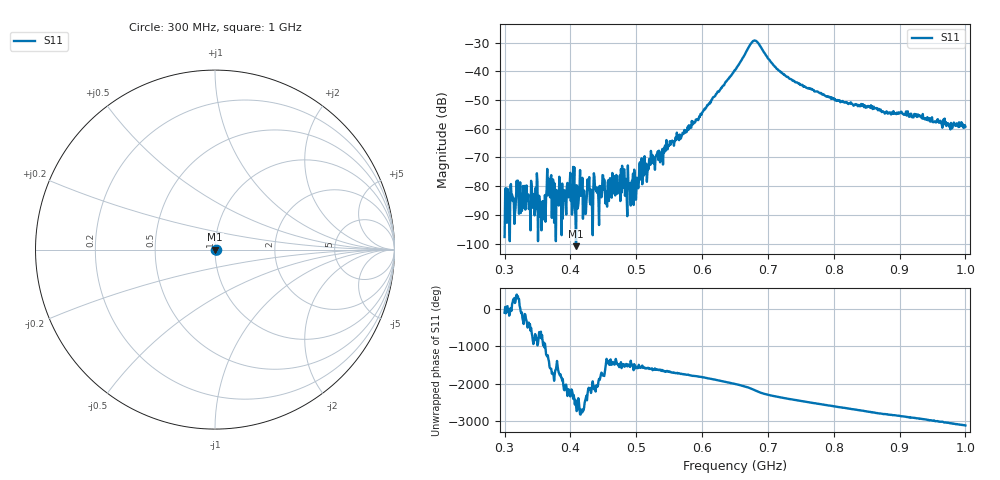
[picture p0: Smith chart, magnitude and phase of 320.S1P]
! C:\Users\rflab\Downloads\q2\320.S1P
! Touchstone 1.1 file saved by VNA.EXE V1.65 (www.ke5fx.com/gpib/readme.htm)
! 11/20/2024 11:16:48 AM
!  Source: HEWLETT PACKARD,8753D,0,6.14
!  Min freq: 3.000000E+008 Hz
!  Max freq: 1.000000E+009 Hz
!  Points: 801
!  Params: S21
# GHZ S MA R 50
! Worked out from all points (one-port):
!   801 points, 300 MHz to 1 GHz, reference 50 ohm
!   lowest |S11| = -100.9 dB at 408.5 MHz (marker M1), VSWR 1.00, Z = 50 - j0.000769 ohm
!   |S11| at or under -10 dB: start of sweep to end of sweep
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0.3  1.3e-05 -107.6
0.360375  2.6e-05 47.5
0.367375  9.1e-05 34.5
0.3875  0.000111 -123.2
0.39975  0.000171 174.5
0.402375  3.2e-05 -25.8
0.4085  9e-06 -58.7
0.444375  0.000101 -106.2
0.475  0.000153 -51.9
0.4785  0.000227 -41.2
0.486375  3e-05 -101.9
0.500375  8.9e-05 -145.3
0.509125  0.000108 -78.7
0.512625  0.000333 -146.8
0.517  0.000179 -145.2
0.523125  0.000348 -172.8
0.537125  0.000297 164.1
0.545  0.000416 116.2
0.5625  0.000737 84.1
0.591375  0.001418 -5.7
0.65  0.01042 147.7
0.673625  0.02994 30.1
0.680625  0.03443 -25.4
0.71125  0.01201 176.5
0.7375  0.006871 93.0
0.825  0.002779 -154.7
0.9125  0.002016 -15.6
1  0.001095 118.5
